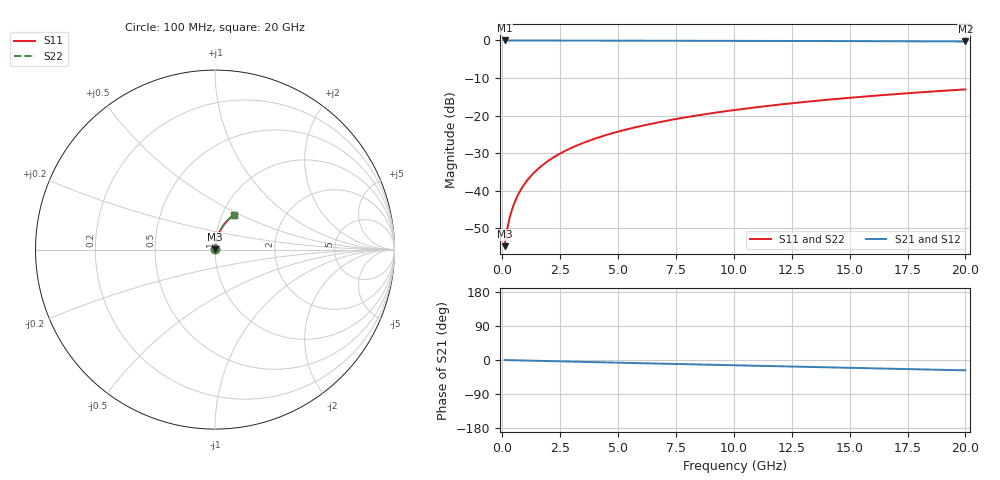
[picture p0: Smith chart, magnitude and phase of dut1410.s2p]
! Touchstone file exported from HFSS 2026.1.0
!  File:  C:/ffzhzh/LocalFiles/Ansys_Project_Files/temp_train_TMRDL_1410_1783166518_18472.aedt
!  Generated:  08:03:14 PM Jul  4, 2026
!  Design:  TMRDL
!  Project:  temp_train_TMRDL_1410_1783166518_18472
! Variables:
!  h_bsmrdl = 2um
!  h_ox = 20um
!  h_rdl = 5um
!  h_sub = 80um
!  h_tmrdl = 5.38um
!  h_tsv = 80um
!  h_via = 3um
!  l_bsmrdl = 300um
!  l_sub = 799.55um
!  l_tmrdl = 399.55um
!  m_sub = 200um
!  pitch = 49.77um
!  r_tsv = 6um
!  s_tmrdl = 10um
!  w_bsmrdl = 18um
!  w_sub = 500um
!  w_tmrdl = 26.44um
!  x_tsv_center1 = 412.77um
!  x_tsv_center2 = 730.77um
!  x_tsv_center3 = 1156.76um
!  x_tsv_center4 = 1474.76um
!  x_tsv_center5 = 1900.75um
!  x_tsv_center6 = 2218.75um
# GHz S MA R 50.000000
! Terminal data exported
! Port[1] = TM_RDL1_1_T1
! Port[2] = TM_RDL1_1_T2
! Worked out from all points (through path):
!   200 points, 100 MHz to 20 GHz, reference 50 ohm
!   highest |S21| = -0.01 dB at 100 MHz (marker M1); lowest = -0.3 dB at 20 GHz (marker M2)
!   group delay of S21, straight-line fit = 3.78 ps
!   lowest |S11| = -54.8 dB at 100 MHz (marker M3), VSWR 1.00, Z = 50.1 + j0.14 ohm
!   |S11| at or under -10 dB: start of sweep to end of sweep
!   |S22| runs from -54.8 to -13.0 dB; largest |S21 - S12| = 2e-15
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0.1  0.001828 49.7  0.9988 -0.2  0.9988 -0.2  0.001828 49.7
! Gamma 0 0 0 0
! Port Impedance 50 0 50 0
0.2  0.002984 64.3  0.9987 -0.3  0.9987 -0.3  0.002984 64.3
0.3  0.004171 70.7  0.9986 -0.4  0.9986 -0.4  0.004171 70.7
0.4  0.005375 74.4  0.9986 -0.6  0.9986 -0.6  0.005375 74.4
0.5  0.006594 76.7  0.9985 -0.7  0.9985 -0.7  0.006594 76.7
0.7  0.009058 79.5  0.9985 -1.0  0.9985 -1.0  0.009058 79.5
0.8  0.0103 80.4  0.9984 -1.2  0.9984 -1.2  0.0103 80.4
1  0.01278 81.5  0.9983 -1.4  0.9983 -1.4  0.01278 81.5
1.2  0.01527 82.1  0.9982 -1.7  0.9982 -1.7  0.01527 82.1
1.4  0.01776 82.4  0.9981 -2.0  0.9981 -2.0  0.01776 82.4
1.7  0.02148 82.6  0.9979 -2.4  0.9979 -2.4  0.02148 82.6
2  0.02517 82.6  0.9977 -2.9  0.9977 -2.9  0.02517 82.6
2.7  0.03372 82.2  0.9971 -3.8  0.9971 -3.8  0.03372 82.2
3.5  0.04335 81.4  0.9963 -5.0  0.9963 -5.0  0.04335 81.4
4.2  0.05167 80.6  0.9956 -5.9  0.9956 -5.9  0.05167 80.6
5  0.06108 79.7  0.9947 -7.1  0.9947 -7.1  0.06108 79.7
6.8  0.08196 77.6  0.9925 -9.5  0.9925 -9.5  0.08197 77.6
8.3  0.0991 75.8  0.9905 -11.6  0.9905 -11.6  0.0991 75.7
10.1  0.1193 73.5  0.9878 -14.1  0.9878 -14.1  0.1193 73.5
13.4  0.1555 69.4  0.982 -18.5  0.982 -18.5  0.1555 69.3
16.7  0.1901 65.2  0.9753 -22.9  0.9753 -22.9  0.1901 65.1
20  0.223 61.0  0.9679 -27.3  0.9679 -27.3  0.223 60.9
